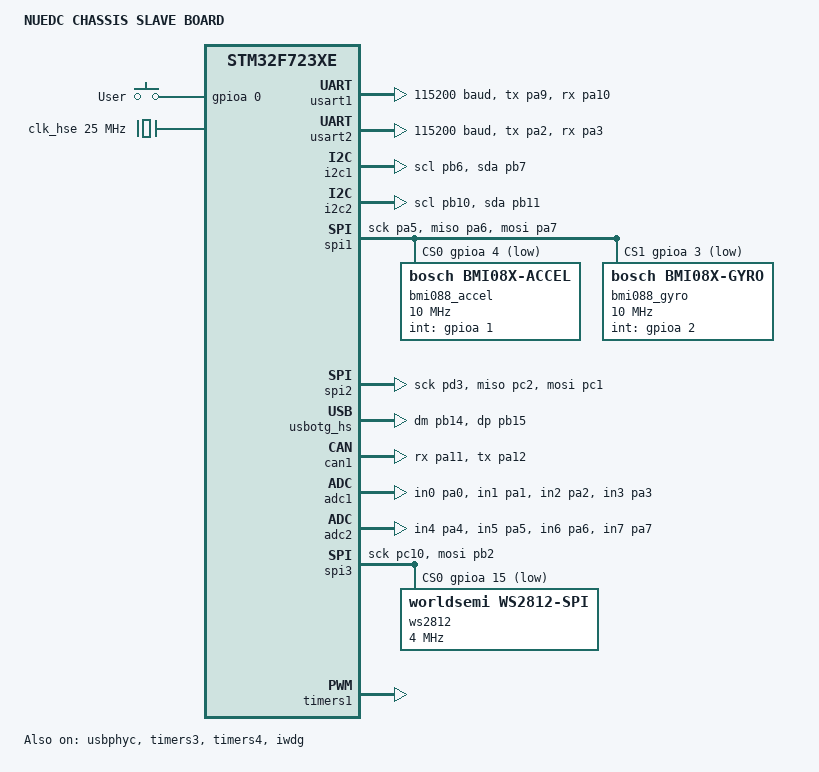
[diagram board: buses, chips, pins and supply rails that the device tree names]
/*
 * Copyright (c) 2018 Aurelien Jarno
 *
 * SPDX-License-Identifier: Apache-2.0
 */

/dts-v1/;
#include <st/f7/stm32f723Xe.dtsi>
#include <st/f7/stm32f723i(c-e)kx-pinctrl.dtsi>
#include <zephyr/dt-bindings/input/input-event-codes.h>
#include <zephyr/dt-bindings/led/led.h>

/ {
	model = "NUEDC CHASSIS SLAVE BOARD";
	compatible = "nuedc,chassis-slave";

	chosen {
		zephyr,console = &usart3;
		zephyr,shell-uart = &usart3;
		zephyr,sram = &sram0;
		zephyr,flash = &flash0;
		zephyr,led-strip = &ws2812;
	};

	// leds {

	// WS2812 LED strip - see &spi3 node below

	// leds {
	// 	compatible = "gpio-leds";

	// 	blue_led: led_1 {
	// 		gpios = <&gpioa 5 GPIO_ACTIVE_HIGH>;
	// 		label = "User LD1";
	// 	};

	// 	red_led: led_2 {
	// 		gpios = <&gpioa 7 GPIO_ACTIVE_HIGH>;
	// 		label = "User LD5";
	// 	};

	// 	green_led: led_3 {
	// 		gpios = <&gpiob 1 GPIO_ACTIVE_HIGH>;
	// 		label = "User LD6";
	// 	};
	// };

	gpio_keys {
		compatible = "gpio-keys";

		user_button: button {
			label = "User";
			gpios = <&gpioa 0 GPIO_ACTIVE_HIGH>;
			zephyr,code = <INPUT_KEY_0>;
		};
	};

	aliases {
		sw0 = &user_button;
		zephyr-usbbus = &usbotg_hs;
		zephyr-spi1 = &spi1;
		zephyr-spi2 = &spi2;
		zephyr-i2c1 = &i2c1;
		zephyr-i2c2 = &i2c2;
		zephyr-uart1 = &usart1;
		zephyr-uart2 = &usart2;
		zephyr-can1 = &can1;
		zephyr-adc1 = &adc1;
		zephyr-adc2 = &adc2;
		zephyr-imu0-accel = &bmi088_accel;
		zephyr-imu0-gyro = &bmi088_gyro;
		zephyr-pwm-motor = &timers1_pwm;
	};
};

&clk_hse {
	clock-frequency = <DT_FREQ_M(25)>;
	status = "okay";
};

&pll {
	div-m = <25>;
	mul-n = <432>;
	div-p = <2>;
	div-q = <9>;
	clocks = <&clk_hse>;
	status = "okay";
};

&rcc {
	clocks = <&pll>;
	clock-frequency = <DT_FREQ_M(216)>;
	ahb-prescaler = <1>;
	apb1-prescaler = <4>;
	apb2-prescaler = <2>;
};

&usart1 {
	pinctrl-0 = <&usart1_tx_pa9 &usart1_rx_pa10>;
	pinctrl-names = "default";
	current-speed = <115200>;
	dmas = <&dma2 7 4 STM32_DMA_PERIPH_TX STM32_DMA_FIFO_FULL>,
	       <&dma2 5 4 STM32_DMA_PERIPH_RX STM32_DMA_FIFO_FULL>;
	dma-names = "tx", "rx";
	status = "okay";
};

&usart2 {
	pinctrl-0 = <&usart2_tx_pa2 &usart2_rx_pa3>;
	pinctrl-names = "default";
	current-speed = <115200>;
	status = "okay";
};

&i2c1 {
	pinctrl-0 = <&i2c1_scl_pb6 &i2c1_sda_pb7>;
	pinctrl-names = "default";
	dmas = <&dma1 6 1 STM32_DMA_PERIPH_TX STM32_DMA_FIFO_FULL>,
	       <&dma1 5 1 STM32_DMA_PERIPH_RX STM32_DMA_FIFO_FULL>;
	dma-names = "tx", "rx";
	status = "okay";
};

&i2c2 {
	pinctrl-0 = <&i2c2_scl_pb10 &i2c2_sda_pb11>;
	pinctrl-names = "default";
	dmas = <&dma1 7 7 STM32_DMA_PERIPH_TX STM32_DMA_FIFO_FULL>,
	       <&dma1 2 7 STM32_DMA_PERIPH_RX STM32_DMA_FIFO_FULL>;
	dma-names = "tx", "rx";
	status = "okay";
};

&dma2 {
	status = "okay";
};

&dma1 {
	status = "okay";
};

&spi1 {
	pinctrl-0 = <&spi1_sck_pa5 &spi1_miso_pa6 &spi1_mosi_pa7>;
	pinctrl-names = "default";
	cs-gpios = <&gpioa 4 GPIO_ACTIVE_LOW    /* TODO: accel CS */
		    &gpioa 3 GPIO_ACTIVE_LOW>;   /* TODO: gyro CS */
	dmas = <&dma2 3 3 STM32_DMA_PERIPH_TX STM32_DMA_FIFO_FULL>,
	       <&dma2 0 3 STM32_DMA_PERIPH_RX STM32_DMA_FIFO_FULL>;
	dma-names = "tx", "rx";
	status = "okay";

	/* BMI088 加速度计 — 改 spi-max-frequency / reg / int-gpios */
	bmi088_accel: bmi088-accel@0 {
		compatible = "bosch,bmi08x-accel";
		reg = <0>;                          /* CS0 (spi-cs-gpios 第 0 个) */
		spi-max-frequency = <DT_FREQ_M(10)>;
		accel-fs = <16>;                    /* 满量程: 2/3/4/6/8/12/16/24 g */
		accel-hz = "1600";                   /* 采样率: 12.5~1600 Hz */
		int-gpios = <&gpioa 1 GPIO_ACTIVE_HIGH>;  /* TODO: 改成你实际的 INT 引脚 */
	};

	/* BMI088 陀螺仪 — 共用 SPI 总线，独立 CS */
	bmi088_gyro: bmi088-gyro@1 {
		compatible = "bosch,bmi08x-gyro";
		reg = <1>;                          /* CS1 (spi-cs-gpios 第 1 个) */
		spi-max-frequency = <DT_FREQ_M(10)>;
		gyro-fs = <2000>;                   /* 满量程: 125/250/500/1000/2000 dps */
		gyro-hz = "2000_532";               /* 采样率+带宽 */
		int-gpios = <&gpioa 2 GPIO_ACTIVE_HIGH>;  /* TODO: 改成你实际的 INT 引脚 */
	};
};

&spi2 {
	pinctrl-0 = <&spi2_sck_pd3 &spi2_miso_pc2 &spi2_mosi_pc1>;
	pinctrl-names = "default";
	dmas = <&dma1 4 0 STM32_DMA_PERIPH_TX STM32_DMA_FIFO_FULL>,
	       <&dma1 3 0 STM32_DMA_PERIPH_RX STM32_DMA_FIFO_FULL>;
	dma-names = "tx", "rx";
	status = "okay";
};

&usbphyc {
	status = "okay";
};

&usbotg_hs {
	pinctrl-0 = <&usb_otg_hs_dm_pb14 &usb_otg_hs_dp_pb15>;
	pinctrl-names = "default";
	status = "okay";
};

&can1 {
	pinctrl-0 = <&can1_rx_pa11 &can1_tx_pa12>;
	pinctrl-names = "default";
	status = "okay";
};

&adc1 {
	pinctrl-0 = <&adc1_in0_pa0 &adc1_in1_pa1 &adc1_in2_pa2 &adc1_in3_pa3>;
	pinctrl-names = "default";
	st,adc-prescaler = <2>;
	dmas = <&dma2 4 0 STM32_DMA_PERIPH_RX STM32_DMA_FIFO_FULL>;
	dma-names = "rx";
	status = "okay";
};

&adc2 {
	pinctrl-0 = <&adc2_in4_pa4 &adc2_in5_pa5 &adc2_in6_pa6 &adc2_in7_pa7>;
	pinctrl-names = "default";
	st,adc-prescaler = <2>;
	dmas = <&dma2 2 1 STM32_DMA_PERIPH_RX STM32_DMA_FIFO_FULL>;
	dma-names = "rx";
	status = "okay";
};

&timers3 {
	status = "okay";

	qdec0: qdec {
		pinctrl-0 = <&tim3_ch1_pc6 &tim3_ch2_pc7>;
		pinctrl-names = "default";
		st,counts-per-revolution = <65535>;
		st,encoder-mode = <0x3>;
		status = "okay";
	};
};

&timers4 {
	status = "okay";

	qdec1: qdec {
		pinctrl-0 = <&tim4_ch1_pd12 &tim4_ch2_pd13>;
		pinctrl-names = "default";
		st,counts-per-revolution = <65535>;
		st,encoder-mode = <0x3>;
		status = "okay";
	};
};

/* SPI3 dedicated to WS2812 LED strip (MOSI only, SCK not connected to LED) */
&spi3 {
	pinctrl-0 = <&spi3_sck_pc10 &spi3_mosi_pb2>;  /* TODO: 改引脚 */
	pinctrl-names = "default";
	cs-gpios = <&gpioa 15 GPIO_ACTIVE_LOW>;  /* TODO: 任意空闲引脚，WS2812 不用 CS */
	dmas = <&dma1 5 0 STM32_DMA_PERIPH_TX STM32_DMA_FIFO_FULL>;
	dma-names = "tx";
	status = "okay";

	ws2812: ws2812@0 {
		reg = <0>;
		compatible = "worldsemi,ws2812-spi";
		chain-length = <1>;
		color-mapping = <LED_COLOR_ID_GREEN
				 LED_COLOR_ID_RED
				 LED_COLOR_ID_BLUE>;
		spi-max-frequency = <DT_FREQ_M(4)>;
		reset-delay = <50>;
		spi-one-frame = <0x6>;     /* 110b = WS2812 '1' at 4MHz */
		spi-zero-frame = <0x4>;    /* 100b = WS2812 '0' at 4MHz */
		bits-per-symbol = <3>;     /* 3 SPI bits per WS2812 bit */
	};
};

/* IWDG — 100ms timeout, configured via Kconfig */
&iwdg {
	status = "okay";
};

/* TIM1 PWM — CH1 (PE9) + CH2 (PE11) for motor control */
&timers1 {
	status = "okay";

	timers1_pwm: pwm {
		pinctrl-0 = <&tim1_ch1_pe9 &tim1_ch2_pe11>;
		pinctrl-names = "default";
		status = "okay";
	};
};
